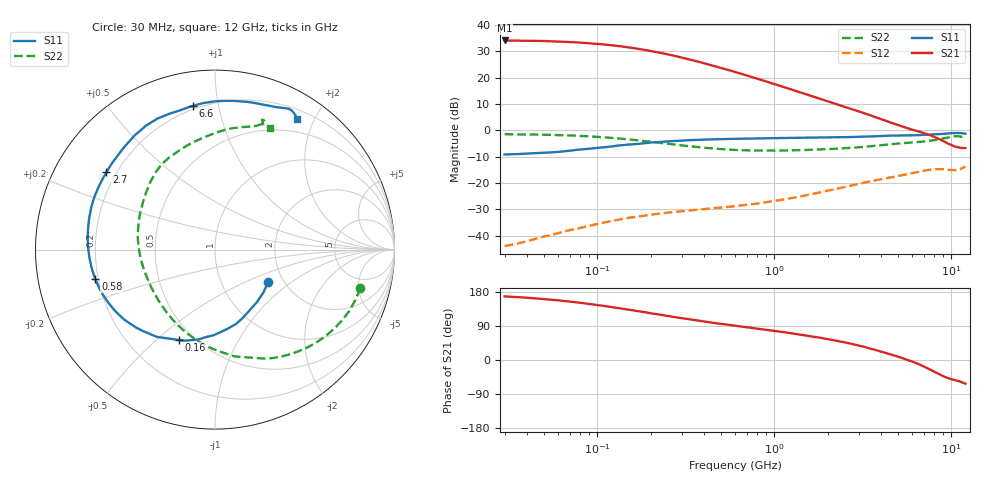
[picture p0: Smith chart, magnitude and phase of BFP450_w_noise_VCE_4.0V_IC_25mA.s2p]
! Infineon Technologies  Discrete & RF Semiconductors
! BFP450
! VCE =  4.0 V,  IC =  25 mA
! Common Emitter S-Parameters:  Nov 2015
# GHz  S  MA  R  50
!  f  S11  S21  S12  S22
! GHz  MAG  ANG  MAG  ANG  MAG  ANG  MAG  ANG
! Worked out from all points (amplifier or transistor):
!   239 points, 30 MHz to 12 GHz, reference 50 ohm
!   highest |S21| = 34.1 dB at 30 MHz (marker M1)
!   |S21| within 3 dB of that: start of sweep to 164.1 MHz
!   unconditionally stable (mu >= 1): 1.544 GHz to end of sweep
!   at 300 MHz: K = 0.39, MSG = 29.2 dB, |S12| = -30.7 dB
!   at 1.88 GHz: K = 1.06, MAG = 16.0 dB, |S12| = -23.4 dB
!   at 12 GHz: K = 1.11, MAG = 1.5 dB, |S12| = -13.8 dB
!   lowest NFmin = 1.19 dB at 450 MHz
!   S11 on the Smith chart (normalised r, x): 30 MHz: 1.66, -0.69; 160 MHz: 0.42, -0.59; 580 MHz: 0.19, -0.12; 2.7 GHz: 0.16, +0.31; 6.6 GHz: 0.18, +0.84; 12 GHz: 0.31, +1.77
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0.03  0.3467 -31.6  50.6 168.0  0.0063 56.9  0.8387 -14.9
0.04  0.36 -41.4  49.99 164.4  0.0078 60.0  0.8308 -19.7
0.05  0.3744 -51.5  49.33 160.7  0.0096 60.2  0.8224 -24.6
0.065  0.3978 -63.7  47.73 155.8  0.0119 59.5  0.8024 -31.6
0.085  0.4369 -77.3  45.44 149.5  0.0146 57.5  0.7729 -40.4
0.105  0.469 -88.7  42.96 143.8  0.0172 55.0  0.7409 -48.6
0.12  0.4907 -96.1  41.07 139.8  0.0189 52.7  0.7173 -54.4
0.15  0.5352 -108.5  37.48 132.8  0.0217 49.4  0.6715 -64.9
0.16  0.5419 -111.7  36.3 131.1  0.0223 48.4  0.655 -67.6
0.2  0.5846 -123.7  31.94 123.2  0.0249 44.9  0.6051 -79.6
0.24  0.6078 -132.1  28.39 117.7  0.0268 42.5  0.5622 -89.0
0.3  0.6389 -142.4  23.95 110.3  0.0291 39.9  0.5155 -101.6
0.4  0.6643 -153.7  18.74 101.6  0.0318 38.1  0.4662 -117.2
0.5  0.6792 -161.4  15.23 95.3  0.0341 37.9  0.4388 -128.9
0.58  0.6866 -166.1  13.23 91.4  0.0358 38.1  0.4258 -136.1
0.6  0.6891 -167.2  12.75 90.3  0.0362 38.2  0.4237 -138.0
1  0.7085 177.9  7.512 76.7  0.0452 41.0  0.4105 -161.3
1.64  0.7258 163.2  4.416 62.2  0.0615 42.2  0.4263 177.8
2.7  0.7427 144.5  2.552 43.1  0.0888 36.6  0.4634 154.3
4.5  0.7902 119.1  1.415 15.1  0.1263 20.9  0.5424 127.8
6.6  0.8099 98.9  0.937 -11.7  0.1639 2.1  0.601 104.7
12  0.8623 57.8  0.459 -62.3  0.2038 -39.6  0.746 65.7
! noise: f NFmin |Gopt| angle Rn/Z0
0.45  1.19  0.39  -177  0.07
0.9  1.26  0.44  -174  0.06
1.9  1.38  0.51  -159  0.08
2.4  1.51  0.54  -149  0.1
